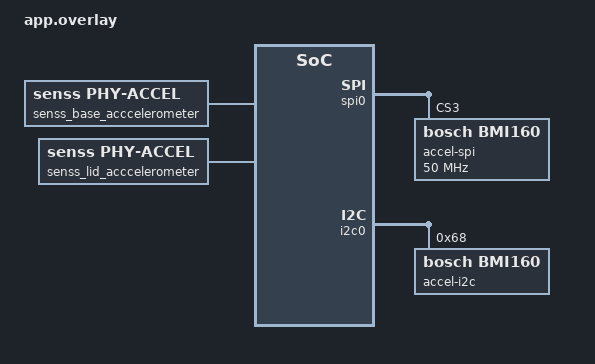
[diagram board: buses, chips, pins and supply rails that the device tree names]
/*
 * Copyright (c) 2022 Intel Corporation
 *
 * SPDX-License-Identifier: Apache-2.0
 *
 * Application overlay for testing the devicetree.h API.
 *
 * Names in this file should be chosen in a way that won't conflict
 * with real-world devicetree nodes, to allow these tests to run on
 * (and be extended to test) real hardware.
 */

#include "senss.dtsi"

&senss {
	base_accel: base-accel {
		compatible = "senss,phy-accel";
		status = "okay";
		sensor-type = <0x73>;
		sensor-index = <0>;
		label = "senss_base_acccelerometer";
		vendor = "VND";
		model = "Test";
		friendly-name = "Base Accelerometer Sensor";
		underlying-device = <&bmi_i2c>;
		minimal-interval = <10000>;
		rotation-matrix = <0 1 0
				   1 0 0
				   0 0 (-1)>;
	};

	lid_accel: lid-accel {
		compatible = "senss,phy-accel";
		status = "okay";
		sensor-type = <0x73>;
		sensor-index = <1>;
		label = "senss_lid_acccelerometer";
		vendor = "VND";
		model = "Test";
		friendly-name = "Lid Accelerometer Sensor";
		underlying-device = <&bmi_spi>;
		minimal-interval = <10000>;
		rotation-matrix = <1 0 0
				   0 1 0
				   0 0 (-1)>;
	};
};

&spi0 {
	bmi_spi: bmi@3 {
		compatible = "bosch,bmi160";
		spi-max-frequency = <50000000>;
		reg = <3>;
		label = "accel-spi";
	};
};

&i2c0 {
	bmi_i2c: bmi@68 {
		compatible = "bosch,bmi160";
		reg = <0x68>;
		label = "accel-i2c";
	};
};



